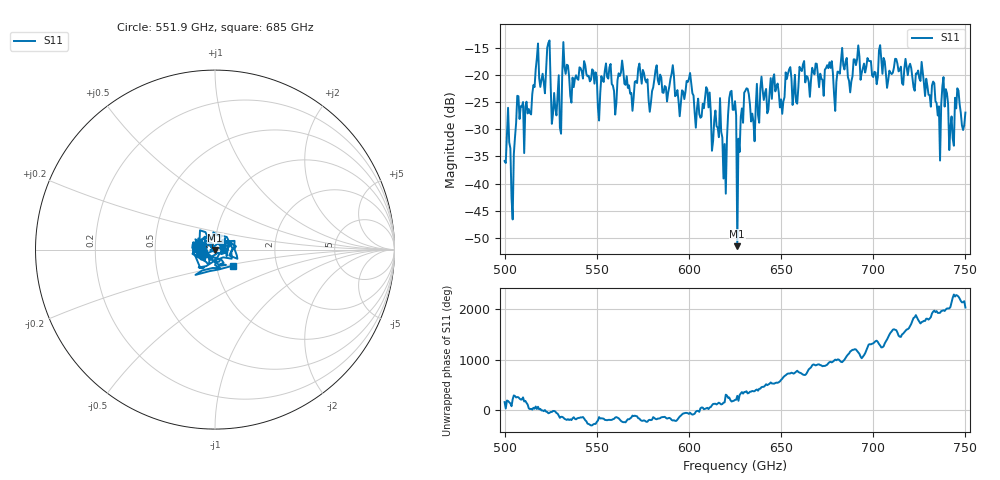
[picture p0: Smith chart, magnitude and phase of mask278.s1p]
!Created with skrf (http://scikit-rf.org).
# GHz S MA R 50.0
!freq magS11 angS11
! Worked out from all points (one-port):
!   401 points, 500 GHz to 750 GHz, reference 50 ohm
!   lowest |S11| = -51.5 dB at 626.2 GHz (marker M1), VSWR 1.01, Z = 50.1 - j0.259 ohm
!   |S11| at or under -10 dB: start of sweep to end of sweep
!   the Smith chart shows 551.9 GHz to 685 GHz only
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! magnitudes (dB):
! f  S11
! 500 GHz  -35.8
! 501.9 GHz  -26.0
! 504.4 GHz  -46.6
! 507.5 GHz  -23.9
! 511.9 GHz  -24.9
! 517.5 GHz  -16.9
! 523.8 GHz  -14.1
! 526.9 GHz  -23.3
! 531.2 GHz  -20.0
! 533.1 GHz  -19.8
! 551.9 GHz  -23.4
! 562.5 GHz  -20.2
! 593.8 GHz  -22.8
! 610 GHz  -22.7
! 619.4 GHz  -32.7
! 623.8 GHz  -26.4
! 625 GHz  -24.8
! 626.2 GHz  -51.5
! 631.2 GHz  -22.4
! 635 GHz  -28.6
! 656.2 GHz  -25.5
! 687.5 GHz  -23.2
! 718.8 GHz  -20.0
! 735 GHz  -27.4
! 738.8 GHz  -25.8
! 742.5 GHz  -27.6
! 745.6 GHz  -22.4
! 750 GHz  -26.9
